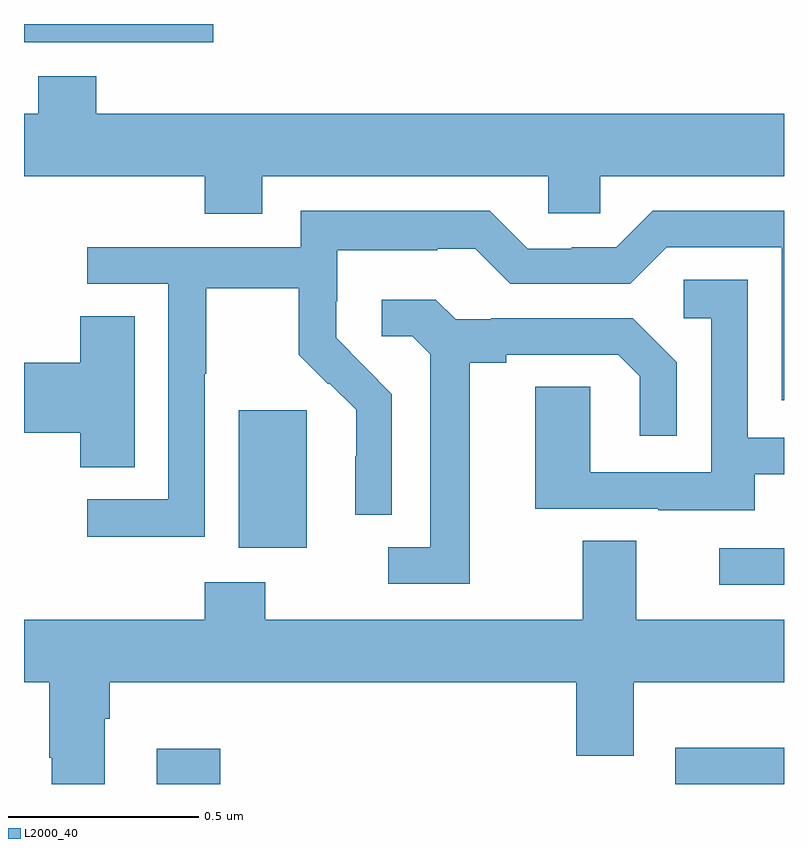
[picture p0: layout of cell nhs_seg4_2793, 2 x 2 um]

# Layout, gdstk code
import gdstk
lib = gdstk.Library(unit=1e-6, precision=1e-09)
def R(c, l, rs):  # rectangles x0, y0, x1, y1
    for r in rs: c.add(gdstk.rectangle(r[:2], r[2:], *l))
def P(c, l, *ps):  # polygons
    for p in ps: c.add(gdstk.Polygon(p, *l))
L2000_40 = (2000, 40)

nhs_seg4_2793 = lib.new_cell('nhs_seg4_2793')
R(nhs_seg4_2793, L2000_40, [(145.349,781.9,145.517,781.993), (146.714,781.9,147,781.996), (146.829,782.424,147,782.52), (145.565,782.522,145.744,782.883), (145,783.852,145.498,783.9)])
P(nhs_seg4_2793, L2000_40, [(145.627,783.5),(146.379,783.5),(146.379,783.402),(146.517,783.402),(146.517,783.5),(147,783.5),(147,783.664),(145.19,783.664),(145.19,783.763),(145.037,783.763),(145.037,783.664),(145,783.664),(145,783.5),(145.475,783.5),(145.475,783.401),(145.627,783.401)],
  [(145.476,782.98),(145.479,782.98),(145.479,783.204),(145.723,783.204),(145.723,783.029),(145.8,782.952),(145.803,782.955),(145.874,782.885),(145.874,782.762),(145.872,782.762),(145.872,782.608),(145.968,782.608),(145.968,782.926),(145.895,782.999),(145.896,783),(145.822,783.074),(145.822,783.171),(145.824,783.171),(145.824,783.305),(146.087,783.305),(146.087,783.309),(146.187,783.309),(146.28,783.216),(146.595,783.216),(146.691,783.312),(146.994,783.312),(146.994,782.91),(147,782.91),(147,783.408),(146.655,783.408),(146.559,783.312),(146.441,783.312),(146.441,783.309),(146.325,783.309),(146.225,783.409),(145.728,783.409),(145.728,783.312),(145.167,783.312),(145.167,783.216),(145.38,783.216),(145.38,782.649),(145.167,782.649),(145.167,782.551),(145.476,782.551)],
  [(146.923,782.715),(147,782.715),(147,782.811),(146.904,782.811),(146.904,783.227),(146.736,783.227),(146.736,783.126),(146.808,783.126),(146.808,782.721),(146.49,782.721),(146.49,782.945),(146.345,782.945),(146.345,782.625),(146.669,782.625),(146.669,782.621),(146.923,782.621)],
  [(146.173,783.008),(146.269,783.008),(146.269,783.03),(146.564,783.03),(146.621,782.973),(146.621,782.817),(146.718,782.817),(146.718,783.01),(146.602,783.126),(146.23,783.126),(146.23,783.123),(146.136,783.123),(146.084,783.175),(145.941,783.175),(145.941,783.078),(146.022,783.078),(146.069,783.031),(146.069,782.523),(145.959,782.523),(145.959,782.427),(146.173,782.427)],
  [(145.291,783.131),(145.148,783.131),(145.148,783.008),(145,783.008),(145,782.825),(145.148,782.825),(145.148,782.734),(145.291,782.734)],
  [(145.213,782.072),(145.226,782.072),(145.226,782.168),(146.453,782.168),(146.453,781.974),(146.605,781.974),(146.605,782.168),(147,782.168),(147,782.332),(146.611,782.332),(146.611,782.54),(146.471,782.54),(146.471,782.332),(145.635,782.332),(145.635,782.431),(145.475,782.431),(145.475,782.332),(145,782.332),(145,782.168),(145.066,782.168),(145.066,781.969),(145.073,781.969),(145.073,781.9),(145.213,781.9)])

lib.write_gds('nhs_seg4_2793.gds')
